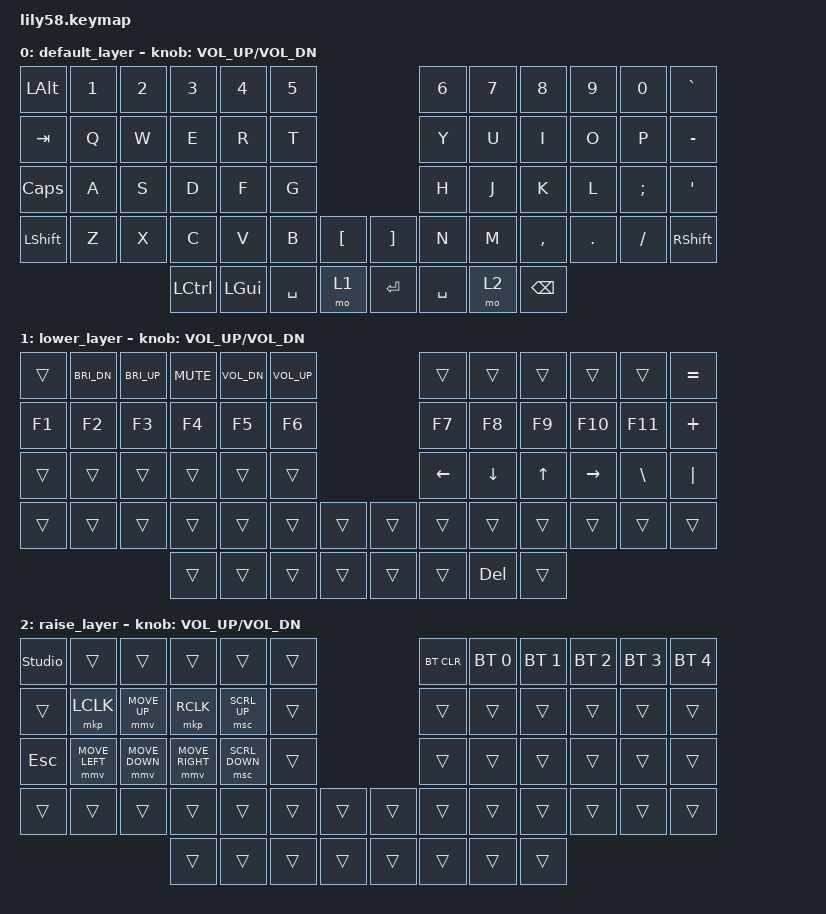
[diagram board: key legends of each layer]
/*
 * Copyright (c) 2020 The ZMK Contributors
 *
 * SPDX-License-Identifier: MIT
 */

#include <behaviors.dtsi>
#include <dt-bindings/zmk/bt.h>
#include <dt-bindings/zmk/keys.h>
#include <dt-bindings/zmk/pointing.h>
#include <dt-bindings/zmk/pointing.h>
#include <dt-bindings/zmk/pointing.h>

/ {
    keymap {
        compatible = "zmk,keymap";

        default_layer {
            // ------------------------------------------------------------------------------------------------------------
            // |  ESC  |  1  |  2  |  3   |  4   |  5   |                   |  6   |  7    |  8    |  9   |   0   |   `   |
            // |  TAB  |  Q  |  W  |  E   |  R   |  T   |                   |  Y   |  U    |  I    |  O   |   P   |   -   |
            // |  CTRL |  A  |  S  |  D   |  F   |  G   |                   |  H   |  J    |  K    |  L   |   ;   |   '   |
            // | SHIFT |  Z  |  X  |  C   |  V   |  B   |   "["  |  |  "]"  |  N   |  M    |  ,    |  .   |   /   | SHIFT |
            //                     | ALT  | GUI  | LOWER|  SPACE |  | ENTER | RAISE| BSPC  | GUI   |

            bindings = <
&kp LEFT_ALT  &kp N1  &kp N2  &kp N3     &kp N4    &kp N5                            &kp N6     &kp N7  &kp N8         &kp N9   &kp N0    &kp GRAVE
&kp TAB       &kp Q   &kp W   &kp E      &kp R     &kp T                             &kp Y      &kp U   &kp I          &kp O    &kp P     &kp MINUS
&kp CAPSLOCK  &kp A   &kp S   &kp D      &kp F     &kp G                             &kp H      &kp J   &kp K          &kp L    &kp SEMI  &kp SQT
&kp LSHFT     &kp Z   &kp X   &kp C      &kp V     &kp B      &kp LBKT    &kp RBKT   &kp N      &kp M   &kp COMMA      &kp DOT  &kp FSLH  &kp RSHFT
                              &kp LCTRL  &kp LGUI  &kp SPACE  &mo 1       &kp ENTER  &kp SPACE  &mo 2   &kp BACKSPACE
            >;

            sensor-bindings = <&inc_dec_kp C_VOL_UP C_VOL_DN>;
        };

        lower_layer {
            // --------------------------------------------------------------------------------------------------------------
            // | LPAD  | BRDn | BRUp |  MUT |  Vo- |  Vo+ |                   |      |       |       |      |       |       |
            // |  F1   |  F2  |  F3  |  F4  |  F5  |  F6  |                   |  F7  |  F8   |  F9   |  F10 |  F11  |  F12  |
            // |   `   |  !   |  @   |  #   |  $   |  %   |                   |  ^   |  &    |  *    |  (   |   )   |   ~   |
            // |       |      |      |      |      |      |        |  |       |      |  _    |  +    |  {   |   }   |  "|"  |
            //                       |      |      |      |        |  |       |      |       |       |

            bindings = <
&trans  &kp C_BRI_DN  &kp C_BRI_UP  &kp C_MUTE  &kp C_VOL_DN  &kp C_VOL_UP                    &trans          &trans          &trans        &trans           &trans         &kp EQUAL
&kp F1  &kp F2        &kp F3        &kp F4      &kp F5        &kp F6                          &kp F7          &kp F8          &kp F9        &kp F10          &kp F11        &kp PLUS
&trans  &trans        &trans        &trans      &trans        &trans                          &kp LEFT_ARROW  &kp DOWN_ARROW  &kp UP_ARROW  &kp RIGHT_ARROW  &kp BACKSLASH  &kp PIPE
&trans  &trans        &trans        &trans      &trans        &trans        &trans    &trans  &trans          &trans          &trans        &trans           &trans         &trans
                                    &trans      &trans        &trans        &trans    &trans  &trans          &kp DELETE      &trans
            >;

            sensor-bindings = <&inc_dec_kp C_VOL_UP C_VOL_DN>;
        };

        raise_layer {
            // ------------------------------------------------------------------------------------------------------------
            // |       |     |     |      |      |      |                   |      |       |       |      |       |       |
            // |   `   |  1  |  2  |  3   |  4   |  5   |                   |  6   |   7   |   8   |  9   |   0   |       |
            // |   F1  |  F2 |  F3 |  F4  |  F5  |  F6  |                   |      |   <-  |   v   |  ^   |  ->   |       |
            // |   F7  |  F8 |  F9 |  F10 |  F11 |  F12 |        |  |       |  +   |   -   |   =   |  [   |   ]   |   \   |
            //                     |      |      |      |        |  |       |      |       |       |

            bindings = <
&studio_unlock  &trans          &trans          &trans           &trans          &trans                    &bt BT_CLR  &bt BT_SEL 0  &bt BT_SEL 1  &bt BT_SEL 2  &bt BT_SEL 3  &bt BT_SEL 4
&trans          &mkp LCLK       &mmv MOVE_UP    &mkp RCLK        &msc SCRL_UP    &trans                    &trans      &trans        &trans        &trans        &trans        &trans
&kp ESCAPE      &mmv MOVE_LEFT  &mmv MOVE_DOWN  &mmv MOVE_RIGHT  &msc SCRL_DOWN  &trans                    &trans      &trans        &trans        &trans        &trans        &trans
&trans          &trans          &trans          &trans           &trans          &trans  &trans    &trans  &trans      &trans        &trans        &trans        &trans        &trans
                                                &trans           &trans          &trans  &trans    &trans  &trans      &trans        &trans
            >;

            sensor-bindings = <&inc_dec_kp C_VOL_UP C_VOL_DN>;
        };
    };
};
